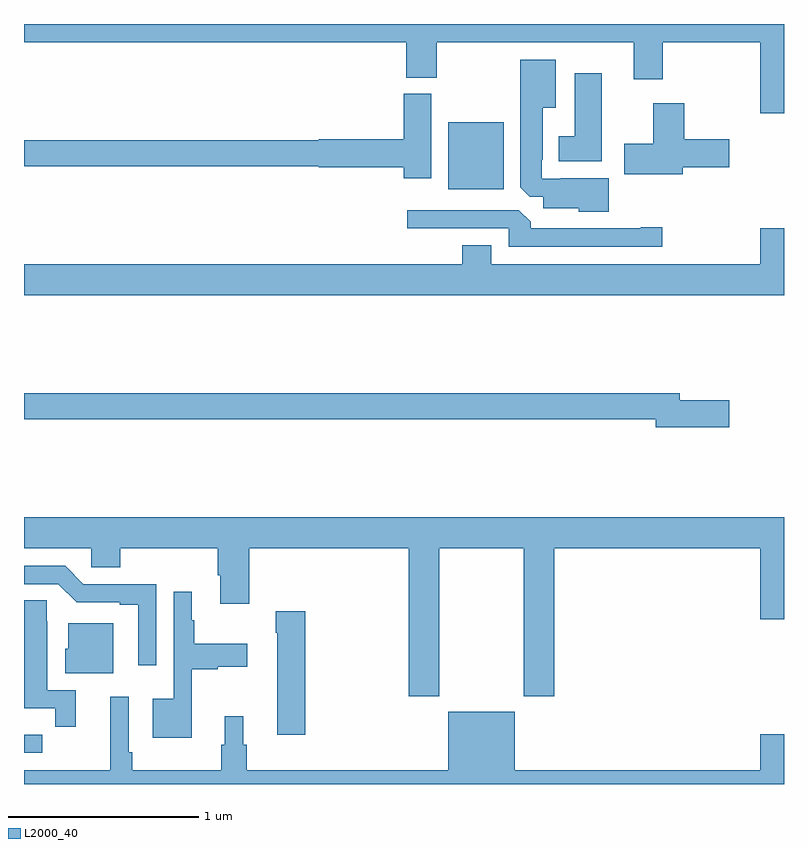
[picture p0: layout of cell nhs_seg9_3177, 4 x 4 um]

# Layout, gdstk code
import gdstk
lib = gdstk.Library(unit=1e-6, precision=1e-09)
def R(c, l, rs):  # rectangles x0, y0, x1, y1
    for r in rs: c.add(gdstk.rectangle(r[:2], r[2:], *l))
def P(c, l, *ps):  # polygons
    for p in ps: c.add(gdstk.Polygon(p, *l))
L2000_40 = (2000, 40)

nhs_seg9_3177 = lib.new_cell('nhs_seg9_3177')
R(nhs_seg9_3177, L2000_40, [(293,1208.664,293.095,1208.76), (295.232,1211.63,295.525,1211.983)])
P(nhs_seg9_3177, L2000_40, [(297,1212.5),(293,1212.5),(293,1212.404),(295.013,1212.404),(295.013,1212.217),(295.173,1212.217),(295.173,1212.404),(296.21,1212.404),(296.21,1212.21),(296.363,1212.21),(296.363,1212.404),(296.876,1212.404),(296.876,1212.03),(297,1212.03)],
  [(296.077,1211.689),(295.825,1211.689),(295.825,1211.685),(295.725,1211.685),(295.725,1211.785),(295.729,1211.785),(295.729,1212.059),(295.798,1212.059),(295.798,1212.313),(295.613,1212.313),(295.613,1211.641),(295.662,1211.592),(295.733,1211.592),(295.733,1211.531),(295.92,1211.531),(295.92,1211.513),(296.077,1211.513)],
  [(296.041,1212.241),(295.898,1212.241),(295.898,1211.908),(295.814,1211.908),(295.814,1211.777),(296.041,1211.777)],
  [(295.144,1212.132),(294.998,1212.132),(294.998,1211.894),(294.552,1211.894),(294.552,1211.888),(293,1211.888),(293,1211.752),(294.552,1211.752),(294.552,1211.747),(294.998,1211.747),(294.998,1211.688),(295.144,1211.688)],
  [(296.467,1211.747),(296.713,1211.747),(296.713,1211.894),(296.475,1211.894),(296.475,1212.082),(296.312,1212.082),(296.312,1211.871),(296.16,1211.871),(296.16,1211.708),(296.467,1211.708)],
  [(296.359,1211.429),(296.246,1211.429),(296.246,1211.424),(295.667,1211.424),(295.667,1211.458),(295.605,1211.52),(295.017,1211.52),(295.017,1211.424),(295.551,1211.424),(295.551,1211.328),(296.359,1211.328)],
  [(297,1211.425),(296.876,1211.425),(296.876,1211.236),(295.459,1211.236),(295.459,1211.335),(295.307,1211.335),(295.307,1211.236),(293,1211.236),(293,1211.072),(297,1211.072)],
  [(296.713,1210.52),(296.452,1210.52),(296.452,1210.556),(293,1210.556),(293,1210.42),(296.324,1210.42),(296.324,1210.378),(296.713,1210.378)],
  [(295.185,1209.74),(295.63,1209.74),(295.63,1208.961),(295.79,1208.961),(295.79,1209.74),(296.876,1209.74),(296.876,1209.366),(297,1209.366),(297,1209.904),(293,1209.904),(293,1209.74),(293.355,1209.74),(293.355,1209.642),(293.507,1209.642),(293.507,1209.74),(294.02,1209.74),(294.02,1209.598),(294.032,1209.598),(294.032,1209.45),(294.185,1209.45),(294.185,1209.74),(295.025,1209.74),(295.025,1208.961),(295.185,1208.961)],
  [(293.697,1209.552),(293.313,1209.552),(293.217,1209.648),(293,1209.648),(293,1209.552),(293.181,1209.552),(293.277,1209.456),(293.504,1209.456),(293.504,1209.444),(293.6,1209.444),(293.6,1209.126),(293.697,1209.126)],
  [(293.884,1209.104),(294.021,1209.104),(294.021,1209.116),(294.175,1209.116),(294.175,1209.238),(293.896,1209.238),(293.896,1209.362),(293.884,1209.362),(293.884,1209.511),(293.787,1209.511),(293.787,1208.95),(293.678,1208.95),(293.678,1208.744),(293.884,1208.744)],
  [(293.273,1208.994),(293.122,1208.994),(293.122,1209.356),(293.121,1209.356),(293.121,1209.467),(293,1209.467),(293,1208.898),(293.164,1208.898),(293.164,1208.802),(293.273,1208.802)],
  [(294.479,1209.409),(294.325,1209.409),(294.325,1209.296),(294.332,1209.296),(294.332,1208.76),(294.479,1208.76)],
  [(293.47,1209.346),(293.234,1209.346),(293.234,1209.213),(293.216,1209.213),(293.216,1209.083),(293.47,1209.083)],
  [(297,1208.761),(296.876,1208.761),(296.876,1208.572),(295.582,1208.572),(295.582,1208.881),(295.232,1208.881),(295.232,1208.572),(294.173,1208.572),(294.173,1208.706),(294.154,1208.706),(294.154,1208.857),(294.056,1208.857),(294.056,1208.706),(294.037,1208.706),(294.037,1208.572),(293.57,1208.572),(293.57,1208.668),(293.55,1208.668),(293.55,1208.959),(293.453,1208.959),(293.453,1208.572),(293,1208.572),(293,1208.5),(297,1208.5)])

lib.write_gds('nhs_seg9_3177.gds')
